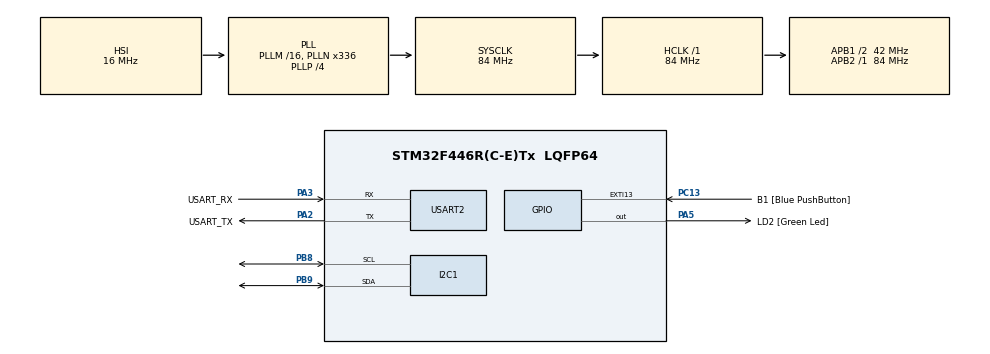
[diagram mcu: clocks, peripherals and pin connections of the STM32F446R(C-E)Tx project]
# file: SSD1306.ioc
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Dma.I2C1_TX.0.Direction=DMA_MEMORY_TO_PERIPH
Dma.I2C1_TX.0.FIFOMode=DMA_FIFOMODE_DISABLE
Dma.I2C1_TX.0.Instance=DMA1_Stream6
Dma.I2C1_TX.0.MemDataAlignment=DMA_MDATAALIGN_BYTE
Dma.I2C1_TX.0.MemInc=DMA_MINC_ENABLE
Dma.I2C1_TX.0.Mode=DMA_NORMAL
Dma.I2C1_TX.0.PeriphDataAlignment=DMA_PDATAALIGN_BYTE
Dma.I2C1_TX.0.PeriphInc=DMA_PINC_DISABLE
Dma.I2C1_TX.0.Priority=DMA_PRIORITY_LOW
Dma.Request0=I2C1_TX
Mcu.Family=STM32F4
Mcu.Name=STM32F446R(C-E)Tx
Mcu.Package=LQFP64
NVIC.DMA1_Stream6_IRQn=true\:0\:0\:false\:false\:true\:false\:true\:true
NVIC.I2C1_ER_IRQn=true\:0\:0\:false\:false\:true\:true\:true\:true
NVIC.I2C1_EV_IRQn=true\:0\:0\:false\:false\:true\:true\:true\:true
NVIC.PriorityGroup=NVIC_PRIORITYGROUP_0
PA13.GPIO_Label=TMS
PA13.Mode=Serial_Wire
PA13.Signal=SYS_JTMS-SWDIO
PA14.GPIO_Label=TCK
PA14.Mode=Serial_Wire
PA14.Signal=SYS_JTCK-SWCLK
PA2.GPIO_Label=USART_TX
PA2.Mode=Asynchronous
PA2.Signal=USART2_TX
PA3.GPIO_Label=USART_RX
PA3.Mode=Asynchronous
PA3.Signal=USART2_RX
PA5.GPIO_Label=LD2 [Green Led]
PA5.Signal=GPIO_Output
PB3.GPIO_Label=SWO
PB3.Signal=SYS_JTDO-SWO
PB8.Mode=I2C
PB8.Signal=I2C1_SCL
PB9.Mode=I2C
PB9.Signal=I2C1_SDA
PC13.GPIO_Label=B1 [Blue PushButton]
PC13.GPIO_ModeDefaultEXTI=GPIO_MODE_IT_FALLING
PC13.Signal=GPXTI13
PC14-OSC32_IN.Mode=LSE-External-Oscillator
PC14-OSC32_IN.Signal=RCC_OSC32_IN
PC15-OSC32_OUT.Mode=LSE-External-Oscillator
PC15-OSC32_OUT.Signal=RCC_OSC32_OUT
PH0-OSC_IN.Mode=HSE-External-Oscillator
PH0-OSC_IN.Signal=RCC_OSC_IN
PH1-OSC_OUT.Mode=HSE-External-Oscillator
PH1-OSC_OUT.Signal=RCC_OSC_OUT
ProjectManager.HeapSize=0x200
ProjectManager.StackSize=0x400
ProjectManager.TargetToolchain=Makefile
RCC.48MHZClocksFreq_Value=84000000
RCC.AHBFreq_Value=84000000
RCC.APB1CLKDivider=RCC_HCLK_DIV2
RCC.APB1Freq_Value=42000000
RCC.APB1TimFreq_Value=84000000
RCC.APB2Freq_Value=84000000
RCC.APB2TimFreq_Value=84000000
RCC.CortexFreq_Value=84000000
RCC.FLatency-AdvancedSettings=FLASH_LATENCY_2
RCC.HCLKFreq_Value=84000000
RCC.HSE_VALUE=8000000
RCC.HSI_VALUE=16000000
RCC.PLLN=336
RCC.PLLP=RCC_PLLP_DIV4
RCC.SYSCLKFreq_VALUE=84000000
RCC.SYSCLKSource=RCC_SYSCLKSOURCE_PLLCLK
RCC.USBFreq_Value=168000000
RCC.VCOOutputFreq_Value=336000000
USART2.VirtualMode=VM_ASYNC
board=NUCLEO-F446RE

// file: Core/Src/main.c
/* USER CODE BEGIN Header */
/**
  ******************************************************************************
  * @file           : main.c
  * @brief          : Main program body
  ******************************************************************************
  * @attention
  *
  * Copyright (c) 2023 STMicroelectronics.
  * All rights reserved.
  *
  * This software is licensed under terms that can be found in the LICENSE file
  * in the root directory of this software component.
  * If no LICENSE file comes with this software, it is provided AS-IS.
  *
  ******************************************************************************
  */
/* USER CODE END Header */
#include "main.h"
#include "dma.h"
#include "i2c.h"
#include "usart.h"
#include "gpio.h"

/* USER CODE BEGIN Includes */
#include <stdio.h>
#include <stdbool.h>

#include "ssd1306.h"
#include "fonts.h"
/* USER CODE END Includes */

/* USER CODE BEGIN PV */
volatile bool perpetualFlag = false;
volatile uint32_t dur = 1;
/* USER CODE END PV */

void SystemClock_Config(void);

int main(void)
{

  /* MCU Configuration--------------------------------------------------------*/

  /* Reset of all peripherals, Initializes the Flash interface and the Systick. */
  HAL_Init();

  /* Configure the system clock */
  SystemClock_Config();

  /* Initialize all configured peripherals */
  MX_GPIO_Init();
  MX_DMA_Init();
  MX_USART2_UART_Init();
  MX_I2C1_Init();
  /* USER CODE BEGIN 2 */

  // Init lcd using one of the stm32HAL i2c typedefs
  if (ssd1306_Init() != 0) {
    HAL_Delay(100);
    Error_Handler();
  }
  ssd1306_waitForUpdate();
  HAL_Delay(1000);

  ssd1306_Fill(Black);
  ssd1306_UpdateScreen();
  ssd1306_waitForUpdate();

  HAL_Delay(1000);

  // Write data to local screenbuffer
  ssd1306_SetCursor(0, 0);
  ssd1306_WriteString("FPS TEST", Font_11x18, White);

  ssd1306_SetCursor(0, 36);
  ssd1306_WriteString("by mkrysz", Font_11x18, White);

  // Copy all data from local screenbuffer to the screen
  ssd1306_UpdateScreen();

  HAL_Delay(2000);
  ssd1306_Fill(Black);
  perpetualFlag = true;
  ssd1306_UpdateScreen();
  /* USER CODE END 2 */

  /* Infinite loop */
  /* USER CODE BEGIN WHILE */
  uint32_t lastChCnt = 0;
  uint32_t curChCnt = 0;
  while (1)
  {
    char msgBuf[32];
    curChCnt = sprintf(msgBuf, "%lums", dur);
    if (curChCnt < lastChCnt){
      ssd1306_Fill(Black);
    }
    lastChCnt = curChCnt;
    ssd1306_SetCursor(0, 0);
    ssd1306_WriteString("SSD1306", Font_11x18, White);
    ssd1306_SetCursor(0, 20);
    ssd1306_WriteString("With DMA", Font_11x18, White);
    ssd1306_SetCursor(0, 42);
    ssd1306_WriteString(msgBuf, Font_11x18, White);
    HAL_Delay(200);

    /* USER CODE END WHILE */

  }
}

void SystemClock_Config(void)
{
  RCC_OscInitTypeDef RCC_OscInitStruct = {0};
  RCC_ClkInitTypeDef RCC_ClkInitStruct = {0};

  /** Configure the main internal regulator output voltage
  */
  __HAL_RCC_PWR_CLK_ENABLE();
  __HAL_PWR_VOLTAGESCALING_CONFIG(PWR_REGULATOR_VOLTAGE_SCALE3);

  /** Initializes the RCC Oscillators according to the specified parameters
  * in the RCC_OscInitTypeDef structure.
  */
  RCC_OscInitStruct.OscillatorType = RCC_OSCILLATORTYPE_HSI;
  RCC_OscInitStruct.HSIState = RCC_HSI_ON;
  RCC_OscInitStruct.HSICalibrationValue = RCC_HSICALIBRATION_DEFAULT;
  RCC_OscInitStruct.PLL.PLLState = RCC_PLL_ON;
  RCC_OscInitStruct.PLL.PLLSource = RCC_PLLSOURCE_HSI;
  RCC_OscInitStruct.PLL.PLLM = 16;
  RCC_OscInitStruct.PLL.PLLN = 336;
  RCC_OscInitStruct.PLL.PLLP = RCC_PLLP_DIV4;
  RCC_OscInitStruct.PLL.PLLQ = 2;
  RCC_OscInitStruct.PLL.PLLR = 2;
  if (HAL_RCC_OscConfig(&RCC_OscInitStruct) != HAL_OK)
  {
    Error_Handler();
  }

  /** Initializes the CPU, AHB and APB buses clocks
  */
  RCC_ClkInitStruct.ClockType = RCC_CLOCKTYPE_HCLK|RCC_CLOCKTYPE_SYSCLK
                              |RCC_CLOCKTYPE_PCLK1|RCC_CLOCKTYPE_PCLK2;
  RCC_ClkInitStruct.SYSCLKSource = RCC_SYSCLKSOURCE_PLLCLK;
  RCC_ClkInitStruct.AHBCLKDivider = RCC_SYSCLK_DIV1;
  RCC_ClkInitStruct.APB1CLKDivider = RCC_HCLK_DIV2;
  RCC_ClkInitStruct.APB2CLKDivider = RCC_HCLK_DIV1;

  if (HAL_RCC_ClockConfig(&RCC_ClkInitStruct, FLASH_LATENCY_2) != HAL_OK)
  {
    Error_Handler();
  }
}

/* USER CODE BEGIN 4 */
void HAL_I2C_MemTxCpltCallback (I2C_HandleTypeDef * hi2c)
{
  ssd1306_DMA_callback();
  if (ssd1306_IsUpdateFinished() && perpetualFlag){
    ssd1306_UpdateScreen();
    static uint32_t prevVal = 0;
    uint32_t curVal = HAL_GetTick();
    dur = curVal - prevVal;
    prevVal = curVal;
  }
}
/* USER CODE END 4 */

void Error_Handler(void)
{
  __disable_irq();
  while (1)
  {
  }
}
